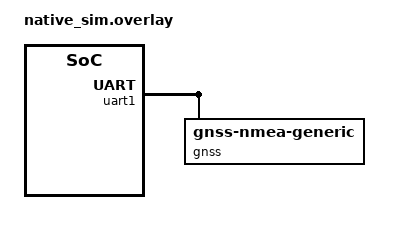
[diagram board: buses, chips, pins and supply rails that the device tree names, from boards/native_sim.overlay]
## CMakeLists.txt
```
cmake_minimum_required(VERSION 3.20.0)
include(${CMAKE_CURRENT_LIST_DIR}/../../cmake/lichen_build_epoch.cmake)
lichen_configure_time_build_epoch()
find_package(Zephyr REQUIRED HINTS $ENV{ZEPHYR_BASE})
project(lichen_gateway)

target_include_directories(app PRIVATE
  ../../subsys/lichen/transport/include)

target_sources(app PRIVATE
  src/main.c
  src/config_apply.c
  src/config_cbor.c
  src/forwarding.c
  src/network_location.c
  src/status_cbor.c)
target_sources_ifdef(CONFIG_LICHEN_ROUTING app PRIVATE
  src/announce_ingest.c)
target_sources_ifdef(CONFIG_LORA_LICHEN_BLE app PRIVATE
  src/ble_app_owner.c
  src/ble_uart.c
  src/ble_lci_netif.c
  src/ble_ingress.c
  src/inbound_coap.c
  src/inbound_events.c)
target_sources_ifdef(CONFIG_LORA_LICHEN_MESHTASTIC_BLE app PRIVATE
  src/ble_app_owner.c
  src/ble_meshtastic.c
  src/inbound_coap.c
  src/inbound_events.c
  src/message_contract.c
  src/meshtastic_adapter.c)
target_sources_ifdef(CONFIG_LORA_LICHEN_MESHCORE_BLE app PRIVATE
  src/ble_app_owner.c
  src/ble_meshcore.c
  src/gateway_identity.c
  src/message_contract.c
  src/meshcore_adapter.c)

target_sources_ifdef(CONFIG_LORA_LICHEN_GATEWAY_RPL_ROOT app PRIVATE
  src/rpl_root.c)

# Register the lichen_coap (modular, not _server) iterable section so
# the linker resolves _coap_resource_lichen_coap_list_start / _list_end.
# Standalone server conditionalized off via Kconfig for single owner.
zephyr_linker_sources(DATA_SECTIONS sections-ram.ld)
zephyr_iterable_section(
  NAME coap_resource_lichen_coap
  GROUP DATA_REGION ${XIP_ALIGN_WITH_INPUT}
  SUBALIGN CONFIG_LINKER_ITERABLE_SUBALIGN)
```

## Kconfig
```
# SPDX-License-Identifier: GPL-3.0-or-later
# SPDX-FileCopyrightText: The contributors to the LICHEN project

menu "LICHEN Gateway"

config LICHEN_MESHTASTIC_GATEWAY_ADAPTER_TEST_SURFACE
	bool "Expose Meshtastic gateway adapter surface for ztests"
	depends on ZTEST
	default n
	help
	  Internal ztest hook that exposes Meshtastic gateway adapter CoAP
	  resources without enabling the production BLE GATT backend.

config LICHEN_INBOUND_LOCATION_TEST_SURFACE
	bool "Expose inbound local-client location resource for ztests"
	depends on ZTEST
	default n
	help
	  Internal ztest hook that exposes the local-client location POST
	  resource without enabling a production local-client write transport.

config LICHEN_GATEWAY_ANNOUNCE_NETWORK_LOCATION_FALLBACK
	bool "Publish announce-derived coordinates as approximate NETWORK location"
	default n
	help
	  Allow verified LICHEN announce coordinate metadata from another peer to
	  update the gateway's local NETWORK location as an approximate
	  mesh-derived fallback. Leave disabled unless the gateway profile
	  intentionally wants peer announce coordinates to stand in for local
	  position. Disabled builds still parse and retain announce coordinates
	  for routing/diagnostics, but do not publish them as this node location.

config LORA_LICHEN_BLE
	bool "Native BLE LCI interface"
	depends on BT
	depends on BT_PERIPHERAL
	depends on BT_MAX_CONN = 1
	select LICHEN_APP_INTERFACE
	select NET_L2_DUMMY
	default n
	help
	  Enable the native LICHEN BLE Local Client Interface so a phone can
	  exchange SLIP-framed IPv6 packets with the gateway over BLE GATT.
	  By default this uses LICHEN-specific service and characteristic UUIDs.
	  Gate per board: enable only on targets with an enabled Zephyr BLE HCI
	  device. Keep the HAL BLE-local capability disabled until the board has a
	  validated bidirectional local-client transport.

config LORA_LICHEN_BLE_LEGACY_NUS
	bool "Use legacy Nordic UART Service UUIDs for native BLE LCI"
	depends on LORA_LICHEN_BLE
	default n
	help
	  Keep the native LICHEN BLE LCI surface on the Nordic UART Service UUID
	  triplet for existing mutually exclusive native product images. Do not
	  enable this in images that also need MeshCore compatibility: MeshCore
	  owns NUS UUIDs with raw MeshCore frame semantics.

config NET_IF_MAX_IPV6_COUNT
	default 2 if LORA_LICHEN_BLE

config LORA_LICHEN_MESHTASTIC_BLE
	bool "Meshtastic-compatible BLE GATT interface"
	depends on BT
	depends on BT_PERIPHERAL
	depends on BT_MAX_CONN = 1
	depends on LICHEN_MESHTASTIC_CODEC
	depends on LICHEN_LINK
	depends on !LORA_LICHEN_BLE
	select LICHEN_APP_IDENTITY
	select LICHEN_APP_INTERFACE
	select LICHEN_MESHTASTIC_ADAPTER
	default n
	help
	  Enable the Meshtastic BLE service UUID and raw protobuf
	  ToRadio/FromRadio/FromNum characteristics. This is a local app
	  compatibility surface only; it does not make LICHEN RF packets
	  Meshtastic-compatible. The first implementation owns a single
	  Meshtastic app session and therefore requires CONFIG_BT_MAX_CONN=1.
	  App identity is selected so NodeDB sync can enumerate known LICHEN
	  peers through the common app-visible identity table.

config LORA_LICHEN_MESHCORE_BLE
	bool "MeshCore-compatible BLE GATT interface"
	depends on BT
	depends on BT_PERIPHERAL
	depends on BT_MAX_CONN = 1
	depends on BT_SMP || ZTEST
	depends on BT_FIXED_PASSKEY || ZTEST
	depends on LICHEN_MESHCORE_CODEC
	depends on LICHEN_LINK
	depends on !LORA_LICHEN_BLE
	depends on !LORA_LICHEN_MESHTASTIC_BLE
	select LICHEN_APP_IDENTITY
	select LICHEN_APP_INTERFACE
	select LICHEN_MESHCORE_ADAPTER
	select BT_SMP_ENFORCE_MITM if !ZTEST
	default n
	help
	  Enable the MeshCore-compatible Nordic UART Service UUIDs with raw
	  MeshCore command/response frames. This is a local app compatibility
	  surface only; it does not make LICHEN RF packets MeshCore-compatible.
	  The first implementation owns a single MeshCore app session, requires
	  CONFIG_BT_MAX_CONN=1, CONFIG_BT_SMP, and CONFIG_BT_FIXED_PASSKEY. It
	  uses authenticated encrypted GATT access in production builds. Plain
	  permissions are limited to ztest/native_sim test builds.

config LORA_LICHEN_MESHCORE_BLE_QUEUE_DEPTH
	int "MeshCore BLE frame queue depth"
	depends on LORA_LICHEN_MESHCORE_BLE
	default 4
	range 1 16
	help
	  Number of complete raw MeshCore frames retained for app RX and TX.

config LORA_LICHEN_MESHCORE_BLE_NAME
	string "MeshCore BLE advertised name"
	depends on LORA_LICHEN_MESHCORE_BLE
	default "MeshCore-LICHEN"
	help
	  Short advertised name used only in MeshCore compatibility mode. Keep
	  the default MeshCore- prefix unless real-client smoke tests prove
	  another prefix is discoverable.

config LORA_LICHEN_MESHCORE_BLE_PASSKEY
	int "MeshCore BLE fixed pairing passkey"
	depends on LORA_LICHEN_MESHCORE_BLE
	default 123456
	range 0 999999
	help
	  Six-digit MeshCore compatibility passkey installed with
	  bt_passkey_set() before advertising starts. This is the first
	  product-mode hook for authenticated local pairing; production boards
	  should override it from provisioning or persistent settings once the
	  MeshCore config-secret policy is implemented.

config LORA_LICHEN_MESHCORE_COMPAT_SETTINGS_PERSISTENCE
	bool "Persist MeshCore compatibility-local settings"
	depends on LORA_LICHEN_MESHCORE_BLE || ZTEST
	depends on LICHEN_MESHCORE_ADAPTER
	depends on SETTINGS_NVS
	default n
	help
	  Persist only MeshCore app-compatibility local state through Zephyr
	  settings/NVS: display name, channel 0 compatibility record, auto-add
	  config, default flood scope, and MeshCore BLE PIN. This store is
	  intentionally separate from native LICHEN identity, OSCORE/link keys,
	  group/routing state, and radio configuration.

config LORA_LICHEN_MESHTASTIC_BLE_QUEUE_DEPTH
	int "Meshtastic BLE FromRadio queue depth"
	depends on LORA_LICHEN_MESHTASTIC_BLE
	default 20
	range LORA_LICHEN_MESHTASTIC_BLE_QUEUE_DEPTH_MIN 32
	help
	  Number of complete FromRadio protobuf values retained for app reads.
	  Keep enough headroom for a queued heartbeat plus a full configuration
	  sync burst with the default bounded NodeDB peer cap.

config LORA_LICHEN_MESHTASTIC_BLE_QUEUE_DEPTH_MIN
	int
	default 20

config LORA_LICHEN_MESHTASTIC_BLE_TO_RADIO_QUEUE_DEPTH
	int "Meshtastic BLE ToRadio queue depth"
	depends on LORA_LICHEN_MESHTASTIC_BLE
	default 8
	range 1 16
	help
	  Number of complete ToRadio protobuf values retained for gateway
	  processing after app writes.

config LORA_LICHEN_GATEWAY_MESSAGE_QUEUE_DEPTH
	int "Gateway local message ingress queue depth"
	depends on LORA_LICHEN_MESHTASTIC_BLE || LORA_LICHEN_MESHCORE_BLE || \
		   LICHEN_MESHTASTIC_GATEWAY_ADAPTER_TEST_SURFACE
	default 4
	range 1 16
	help
	  Number of app-ingress text messages accepted from compatibility
	  surfaces and retained for the normal LICHEN message sender. Until that
	  sender is enabled, this bounded queue is the deterministic local
	  contract and does not transmit on BLE or LoRa by itself.

config LORA_LICHEN_GATEWAY_RPL_ROOT
	bool "RPL root signalling"
	depends on LICHEN_RPL
	default y
	help
	  Enable gateway as RPL DODAG root (lichen_rpl_dodag_init_root).
	  Initializes per AGENTS.md order after link_ctx. Drives Trickle DIOs
	  as root for mesh formation. Updates /status to reflect joined root role.

config LICHEN_GATEWAY_PREFIX_DELEGATION
	bool "Enable IPv6 prefix delegation from WiFi/Ethernet backhaul to RPL mesh"
	depends on LICHEN_RPL
	depends on NET_DHCPV6
	depends on NET_IPV6_ND
	select WIFI
	select NET_L2_WIFI_MGMT
	select NET_IPV6_ND6
	imply NET_DHCPV6_CLIENT
	default y
	help
	  WiFi STA + upstream prefix to RPL DODAG for Heltec V3 6LBR (spec/appendix-border-router.md).
	  Requires main.c event handlers + AGENTS.md init order. Increases heap (see board defconfig).

config LICHEN_GATEWAY_RX1_DELAY_MS
	int "RX1-style delay before answering a CoAP request (ms)"
	default 0
	help
	  Milliseconds to wait after receiving a CoAP request before sending
	  the response, giving a half-duplex requesting node time to switch
	  its radio from TX (the request it just sent) to RX. Without it, the
	  reply can arrive during the requester's TX->RX turnaround and be
	  missed (lora_ipv6_mesh-fe1z, observed on the T1000-E/LR1110). 0
	  disables the delay. ~100 ms is a safe LoRa value.

# Force modular CoAP (lichen_coap service + LICHEN_COAP_CONFIG) for
# gateway; legacy standalone server (lichen_coap_server) would duplicate
# lichen_config ownership and lacks linker bounds on nucleo_wl55jc/r1_neo.
config LICHEN_COAP_SERVER_STANDALONE
	default n

config LICHEN_GATEWAY_COORDINATION
	bool "Gateway coordination protocol (TDMA slots, node registry, handoff)"
	depends on LICHEN_RPL
	depends on LICHEN_COAP
	depends on LICHEN_COAP_SERVER || LICHEN_COAP_CONFIG
	default n
	help
	  Enable multi-gateway coordination per mugl.3 / spec/05-routing.md:145
	  (backbone UDP/CoAP to /.well-known/lichen-gw). Supports closed (PSK+OSCORE)
	  and open (Ed25519 signatures+TOFU) federation modes. Stubs in subsys and
	  rust/lichen-gateway to follow. Required for >1 gateway deployments.

choice LICHEN_GW_FEDERATION_MODE
	prompt "Gateway federation mode for coordination"
	default LICHEN_GW_FEDERATION_CLOSED
	depends on LICHEN_GATEWAY_COORDINATION
	help
	  Closed: PSK-based for single-operator. Open: signature-based for
	  multi-operator with TOFU. Dual supports both simultaneously (mugl.3).

config LICHEN_GW_FEDERATION_CLOSED
	bool "Closed federation (PSK + OSCORE)"

config LICHEN_GW_FEDERATION_OPEN
	bool "Open federation (Ed25519 + TOFU)"

config LICHEN_GW_FEDERATION_DUAL
	bool "Dual federation (both modes)"

endchoice

config LICHEN_GW_PSK
	string "Base64-encoded PSK for closed/dual federation"
	depends on LICHEN_GATEWAY_COORDINATION
	depends on LICHEN_GW_FEDERATION_CLOSED || LICHEN_GW_FEDERATION_DUAL
	help
	  Shared secret for OSCORE in closed federation. Must match on all
	  cooperating gateways in closed mode. 32+ bytes recommended.

config LICHEN_GATEWAY_WIFI_STATION
	bool "WiFi station backhaul (Heltec V3)"
	default y if BOARD_HELTEC_WIFI_LORA32_V3_ESP32S3_PROCPU
	select WIFI
	select WIFI_NM
	select ESP_WIFI_ENABLED
	help
	  Enable WiFi station mode for internet backhaul, prefix acquisition via RA, and LICHEN_GATEWAY_PREFIX_DELEGATION. Uses net_mgmt events for NET_EVENT_WIFI_CONNECT_RESULT and NET_EVENT_IPV6_ADDR_ADD. SSID/PSK from Kconfig or /config CoAP resource. Follows AGENTS.md init order.

config LICHEN_GATEWAY_WIFI_SSID
	string "WiFi SSID"
	depends on LICHEN_GATEWAY_WIFI_STATION
	default "lichen-backhaul"

config LICHEN_GATEWAY_WIFI_PSK
	string "WiFi PSK"
	depends on LICHEN_GATEWAY_WIFI_STATION
	default "lichen123"
	help
	  WPA2 PSK for station mode. Override via CoAP /config for production.

endmenu

source "Kconfig.zephyr"
```

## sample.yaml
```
# SPDX-License-Identifier: GPL-3.0-or-later
# SPDX-FileCopyrightText: The contributors to the LICHEN project

sample:
  name: LICHEN gateway app
  description: Build-only coverage for the LICHEN gateway application entry point.
common:
  tags:
    - lichen
    - gateway
  build_only: true
  extra_args:
    - LICHEN_RELEASE_EPOCH_UNIX=1710000000
tests:
  app.lichen.gateway.native_sim:
    platform_allow:
      - native_sim
    integration_platforms:
      - native_sim
  app.lichen.gateway.qemu_x86:
    platform_allow:
      - qemu_x86
    integration_platforms:
      - qemu_x86
  app.lichen.gateway.rak2287:
    platform_allow:
      - native_sim
    integration_platforms:
      - native_sim
    extra_args:
      - CONFIG_LICHEN_GATEWAY_COORDINATION=y
    tags:
      - rak2287
      - sx1302
```

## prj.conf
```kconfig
# LICHEN gateway — border router / SLIP bridge Kconfig
# Acts as DODAG root (RPL) and SLIP bridge to upstream host

# LoRa radio (driver selected per board in boards/*.conf)
# ponytail: LORA_SX12XX only for external SPI chips (RAK4631, etc)
# STM32WL uses integrated radio via SUBGHZSPI
CONFIG_SPI=y
CONFIG_LORA=y

# Networking
CONFIG_NETWORKING=y
CONFIG_NET_IPV6=y
CONFIG_NET_UDP=y
CONFIG_NET_SOCKETS=y
CONFIG_NET_IPV6_ND=y
CONFIG_NET_DHCPV6=y
CONFIG_NET_ROUTE=y
CONFIG_NET_ROUTING=y

# Application protocols
CONFIG_COAP=y
CONFIG_COAP_SERVER=y
CONFIG_COAP_SERVER_WELL_KNOWN_CORE=y
CONFIG_COAP_SERVER_MESSAGE_SIZE=896
CONFIG_ZCBOR=y

# LICHEN protocol stack
CONFIG_LICHEN=y
CONFIG_LICHEN_APP_INTERFACE=y
CONFIG_LICHEN_LINK=y
CONFIG_LICHEN_ROUTING=y
CONFIG_LICHEN_RPL=y
CONFIG_LICHEN_OSCORE=y

# LICHEN CoAP resources
CONFIG_LICHEN_COAP=y
CONFIG_LICHEN_COAP_CONFIG=y

# LICHEN L2 integration (LoRa -> IPv6 stack)
CONFIG_LICHEN_IPV6=y
CONFIG_LICHEN_LORA_L2=y
CONFIG_LICHEN_L2=y

# SLIP bridge
# Base enables NET_DRIVERS; board configs select TAP (sim) or UART (hardware)
CONFIG_NET_DRIVERS=y
CONFIG_SLIP=y

# Larger stacks — gateway handles RPL root duties + forwarding
CONFIG_MAIN_STACK_SIZE=8192
CONFIG_SYSTEM_WORKQUEUE_STACK_SIZE=4096

# Safety (spec appendix-c-safety)
CONFIG_STACK_CANARIES=y
CONFIG_STACK_SENTINEL=y
CONFIG_ASSERT=y
CONFIG_ASSERT_VERBOSE=y

# Logging
CONFIG_LOG=y
CONFIG_LOG_DEFAULT_LEVEL=3
```

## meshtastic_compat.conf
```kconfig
# SPDX-License-Identifier: GPL-3.0-or-later
# SPDX-FileCopyrightText: The contributors to the LICHEN project

# Meshtastic app-compat BLE protocol shim dependency. Dispatcher Beads wire
# this into gateway BLE service paths; keep it as an app feature fragment so
# protocol compatibility does not masquerade as a board hardware capability.
CONFIG_LICHEN_MESHTASTIC_CODEC=y
CONFIG_LICHEN_APP_INTERFACE_MAX_PAYLOAD=200
CONFIG_LORA_LICHEN_BLE=n
CONFIG_LORA_LICHEN_MESHTASTIC_BLE=y
CONFIG_BT_ATT_PREPARE_COUNT=4
```

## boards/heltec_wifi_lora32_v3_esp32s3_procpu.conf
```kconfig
# SPDX-License-Identifier: GPL-3.0-or-later
# SPDX-FileCopyrightText: The contributors to the LICHEN project
#
# Heltec WiFi LoRa 32 V3 gateway config — ESP32-S3 + SX1262. WiFi backhaul, RPL root,
# tuned stacks, NVS epoch persist, bench provisioning. Update SSID/PSK for production.
# CONFIG_UART_INTERRUPT_DRIVEN=y required for Zephyr shell on UART1
# (polling conflicts with shell backend; see UART driver docs).
#
# WiFi backhaul: NET_L2_ETHERNET + ESP32 WiFi driver. IPv6 RA + NET_IF for
# BR prefix delegation and RPL root. Includes NET_L2_WIFI_MGMT.
CONFIG_LORA_SX126X=y
CONFIG_LICHEN_HAS_LORA=y
CONFIG_LICHEN_RADIO_MODEL_SX126X=y
CONFIG_WIFI_NM=y
CONFIG_ESP_WIFI_ENABLED=y
CONFIG_WIFI=y
CONFIG_NET_L2_ETHERNET=y
CONFIG_NET_L2_WIFI_MGMT=y
CONFIG_NET_IF_MAX_IPV6_COUNT=3
CONFIG_LORA_LICHEN_GATEWAY_RPL_ROOT=y
CONFIG_NET_IPV6_ND=y
CONFIG_NET_CONFIG_NEED_IPV6_ROUTER=y
CONFIG_LICHEN_GATEWAY_PREFIX_DELEGATION=y
CONFIG_LICHEN_GATEWAY_WIFI_SSID="lichen-test"
CONFIG_LICHEN_GATEWAY_WIFI_PSK="lichen123"

CONFIG_SLIP=n

# Full L2 + CoAP path (prj.conf default). Radio arbitration by LICHEN_L2 mutex + TDMA per spec/02a-coordinated-capacity.md §2a.2;
# TINYCRYPT auto-pulled via LICHEN_L2 select.
#
# No AES-CCM link key provisioned on bench gateway -> use CRC32 MIC fallback.
# INSECURE: for bench only; replace with proper key in production.
CONFIG_LICHEN_LINK_INSECURE_CRC32_MIC=y

# Bench-only dev link provisioning for T-Echo and T1000-E pucks (per LICHEN_L2_DEV_PROVISIONING).
CONFIG_LICHEN_L2_DEV_PROVISIONING=y
CONFIG_LICHEN_L2_DEV_PEER_EUI64="7a7ff09dc86c2c10,8a1a2c4b93812cab"

# Dedicated TC TX thread avoids workqueue deadlock with lora_send() on boot.
CONFIG_NET_TC_TX_COUNT=1

# RX-path stacks: the LoRa L2 RX thread runs Monocypher Ed25519 verify +
# SCHC decompress (multi-KB stack), and the net RX thread carries the
# decompressed packet through IPv6/UDP/socket delivery. The 2048/1500
# defaults overflow and crash on the first real received frame. TC TX
# thread runs lichen_l2_send -> Ed25519 SIGNING; 1200 B default
# silently overflows on Xtensa and tramples context — crash appears later
# in xtensa_restore_high_regs. Larger values required for
# ESP32-S3 + WiFi coexistence. Short RX window; boundary-straddling frames safe because
# sx12xx driver holds window open on preamble/header (local Zephyr patch).
# BENCH: 2 dBm prevents saturation on antenna-to-antenna tests while
# allowing >150 B Block2 transfers.
CONFIG_LICHEN_LORA_L2_RX_STACK_SIZE=12288
CONFIG_NET_RX_STACK_SIZE=8192
CONFIG_NET_TX_STACK_SIZE=12288

CONFIG_LICHEN_LORA_L2_RX_TIMEOUT_MS=1000
CONFIG_LICHEN_LORA_TX_POWER=2

# Persist the link TX epoch across reboots: advance it +1 each
# boot so the gateway's counter stays ahead of peers' replay windows,
# eliminating the ~50% reboot replay coin-flip. Settings-on-NVS backed by
# the board's storage_partition@250000.
CONFIG_FLASH=y
CONFIG_FLASH_MAP=y
CONFIG_NVS=y
CONFIG_SETTINGS=y
CONFIG_SETTINGS_NVS=y
CONFIG_LICHEN_LINK_EPOCH_PERSIST=y

CONFIG_LICHEN_GATEWAY_RX1_DELAY_MS=100

CONFIG_ESP_WIFI_STATIC_RX_BUFFER_NUM=8
CONFIG_ESP_WIFI_DYNAMIC_RX_BUFFER_NUM=32
CONFIG_ESP_WIFI_STATIC_TX_BUFFER_NUM=8
CONFIG_NET_MAX_ROUTERS=4
CONFIG_NET_IPV6_NBR_CACHE=16
CONFIG_NET_BUF_RX_COUNT=20
CONFIG_HEAP_MEM_POOL_SIZE=98304

# Battery support for Heltec V3 (N30 1100mAh) real hardware test.
CONFIG_LICHEN_HAS_BATTERY=y
CONFIG_SENSOR=y
CONFIG_ADC=y
```

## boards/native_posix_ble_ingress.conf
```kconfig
# SPDX-License-Identifier: GPL-3.0-or-later
# SPDX-FileCopyrightText: The contributors to the LICHEN project

# Research from bead project-LICHEN-2auf.59.4.1.3.2.2.2.1: Kconfig for native_posix BLE ingress (no link layer)
# Analyzed prj.conf from ble_ingress (ZTEST/NET_L2_DUMMY/NET_IPV6), gateway (full L2/LINK/RPL/COAP), ble_ipsp_transport (BT + BLE_TRANSPORT + explicit L2=n).
# Required CONFIGs for BLE/IPSP/native_posix (excludes link.35.6):
# BLE: BT=y PERIPHERAL=y MAX_CONN=1 DEVICE_NAME BT_HCI=y
# LICHEN-BLE: LORA_LICHEN_BLE=y (selects NET_L2_DUMMY and APP_INTERFACE)
# Disable link: LICHEN=y LINK=n LORA_L2=n L2=n
# Networking: NETWORKING=y IPV6=y UDP=y SOCKETS=y ROUTE=y NET_L2_DUMMY=y IF_MAX_IPV6=2 PKT/BUF counts
# Native: ENTROPY=y TEST_RANDOM_GENERATOR=y LOG=3 MAIN_STACK=4096 + safety
# IPSP: optional (NET_L2_BT unavailable in v3.7; disabled)
# Build cmd: SOURCE_DATE_EPOCH=$(git log -1 --format=%ct) west build -b native_sim/native/64 -p always -d build/ble-ingress lichen/apps/gateway -- -DDTC_OVERLAY_FILE=boards/native_posix_ble_ingress.overlay -DEXTRA_CONF_FILE=boards/native_posix_ble_ingress.conf -DZEPHYR_EXTRA_MODULES=$PWD/lichen -DLICHEN_RELEASE_EPOCH_UNIX=1722470400
# Note: native_posix is deprecated in Zephyr 3.7 and targets x86-32 hosts; on aarch64
# and x86_64 hosts use its successor native_sim/native/64 as shown above.

CONFIG_BT=y
CONFIG_BT_PERIPHERAL=y
CONFIG_BT_MAX_CONN=1
CONFIG_BT_DEVICE_NAME="LICHEN-BLE-INGRESS"
CONFIG_BT_HCI=y
CONFIG_BT_HCI_RAW=n

CONFIG_LORA_LICHEN_BLE=y
CONFIG_LICHEN_BLE_TRANSPORT=n
CONFIG_LICHEN_BLE_SLIP=n
CONFIG_LICHEN_BLE_TRANSPORT_REQUIRE_SECURE=n

# Disable the mesh link and routing stacks for this BLE ingress-only image.
CONFIG_LICHEN=y
CONFIG_LICHEN_LINK=n
CONFIG_LICHEN_LORA_L2=n
CONFIG_LICHEN_L2=n
CONFIG_LICHEN_IPV6=n
CONFIG_LICHEN_HAS_LORA=n
CONFIG_LICHEN_RADIO_MODEL_NONE=y
CONFIG_LICHEN_RADIO_MODEL_LOOPBACK=n
CONFIG_LORA_LOOPBACK=n
CONFIG_LORA=n
CONFIG_LICHEN_ROUTING=n
CONFIG_LICHEN_RPL=n
CONFIG_GNSS=n
CONFIG_GNSS_EMUL=n

# Exclude gateway services unrelated to BLE ingress.
CONFIG_ZCBOR=y
CONFIG_BASE64=n
CONFIG_MCUMGR=n
CONFIG_UART_MCUMGR=n
CONFIG_MCUMGR_TRANSPORT_UART=n
CONFIG_MCUMGR_GRP_FS=n
CONFIG_UART_CONSOLE=n
CONFIG_LICHEN_COAP=n
CONFIG_LICHEN_COAP_SERVER=n
CONFIG_LICHEN_COAP_CONFIG=n
CONFIG_LICHEN_COAP_KEYS=n
CONFIG_LICHEN_OSCORE=n
CONFIG_LICHEN_SENML=n
CONFIG_LICHEN_SLIP_TRANSPORT=n
CONFIG_FILE_SYSTEM=n

# BLE/LCI specific networking (NET_L2_DUMMY is selected by LORA_LICHEN_BLE)
CONFIG_NETWORKING=y
CONFIG_NET_IPV6=y
CONFIG_NET_IPV6_ND=y
CONFIG_NET_IPV6_NBR_CACHE=y
CONFIG_NET_UDP=y
CONFIG_NET_SOCKETS=y
CONFIG_NET_L2_DUMMY=y
CONFIG_NET_IF_MAX_IPV6_COUNT=2
CONFIG_NET_PKT_RX_COUNT=16
CONFIG_NET_PKT_TX_COUNT=16
CONFIG_NET_BUF_RX_COUNT=32
CONFIG_NET_BUF_TX_COUNT=32

# Native sim support
CONFIG_ENTROPY_GENERATOR=y
CONFIG_TEST_RANDOM_GENERATOR=y
CONFIG_LOG=y
CONFIG_LOG_DEFAULT_LEVEL=3
CONFIG_MAIN_STACK_SIZE=4096

# C Safety Policy - spec/appendix-c-safety.md
# STACK_CANARIES must stay off on native_sim/native/64: z_cstart() seeds the
# compiler canary guard (__stack_chk_guard) at PRE_KERNEL_2, after the native
# simulator's host-side boot frames (nsi_init -> nsif_cpu0_boot -> nested
# _start/__libc_start_main) have already been built with the exec-time guard
# value 0.  The first return through one of those pre-seed frames mismatches
# the re-seeded guard and trips __stack_chk_fail, observed at runtime as
# "ZEPHYR FATAL ERROR 2: Stack overflow on CPU 0" on z_idle_threads
# immediately after main() returns (bead project-LICHEN-2auf.59.4.1.3.2.2.4
# runtime log + core-dump analysis).  STACK_SENTINEL stays on: it validates
# Zephyr thread stacks at context switch and runs clean on this target.
CONFIG_STACK_CANARIES=n
CONFIG_STACK_SENTINEL=y
CONFIG_ASSERT=y
CONFIG_ASSERT_VERBOSE=y
```

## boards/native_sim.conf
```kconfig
# native_sim board config — overrides / supplements prj.conf

# LoRa loopback driver for testing without external simulator
CONFIG_LORA=y
CONFIG_LORA_LOOPBACK=y
CONFIG_LICHEN_HAS_LORA=y
CONFIG_LICHEN_RADIO_MODEL_LOOPBACK=y

# Alternatively, use the simulator driver (requires lichen-sim running):
# CONFIG_LORA_LICHEN_SIM=y
# CONFIG_LORA_LICHEN_SIM_HOST="127.0.0.1"
# CONFIG_LORA_LICHEN_SIM_PORT=4444
# CONFIG_LORA_LICHEN_SIM_NODE_ID="gw0"
# CONFIG_LORA_LICHEN_SIM_SIM_ID="lichen"
# CONFIG_NET_SOCKETS=y
# CONFIG_NET_SOCKETS_POSIX_NAMES=y

# native_sim uses the LoRa loopback/simulator driver, not Zephyr SLIP/TAP.
CONFIG_SLIP=n

# GNSS via NMEA on uart1 (PTY)
# Enable second UART port for GNSS NMEA injection
CONFIG_UART_NATIVE_POSIX_PORT_1_ENABLE=y
CONFIG_GNSS=y
CONFIG_GNSS_NMEA_GENERIC=y
```

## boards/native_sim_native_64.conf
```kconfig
# native_sim board config — overrides / supplements prj.conf

# LoRa loopback driver for testing without external simulator
CONFIG_LORA=y
CONFIG_LORA_LOOPBACK=y
CONFIG_LICHEN_HAS_LORA=y
CONFIG_LICHEN_RADIO_MODEL_LOOPBACK=y

# Alternatively, use the simulator driver (requires lichen-sim running):
# CONFIG_LORA_LICHEN_SIM=y
# CONFIG_LORA_LICHEN_SIM_HOST="127.0.0.1"
# CONFIG_LORA_LICHEN_SIM_PORT=4444
# CONFIG_LORA_LICHEN_SIM_NODE_ID="gw0"
# CONFIG_LORA_LICHEN_SIM_SIM_ID="lichen"
# CONFIG_NET_SOCKETS=y
# CONFIG_NET_SOCKETS_POSIX_NAMES=y

# native_sim uses the LoRa loopback/simulator driver, not Zephyr SLIP/TAP.
CONFIG_SLIP=n

# GNSS: use emulated driver for native_sim (no UART dependency)
# For real hardware, boards use gnss-nmea-generic with MODEM_BACKEND_UART.
CONFIG_GNSS=y
CONFIG_GNSS_EMUL=y

# Entropy driver for CSPRNG (native_sim uses zephyr,native-posix-rng)
CONFIG_ENTROPY_GENERATOR=y
```

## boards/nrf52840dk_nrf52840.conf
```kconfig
# nRF52840 DK board config — BLE UART gateway
# The nRF52840 has no built-in LoRa radio; pair with an external SX1262 via SPI.

# The DK gateway exposes the local client interface over BLE NUS, not Zephyr's
# wired SLIP driver.  Keep CONFIG_SLIP disabled so Zephyr does not require a
# zephyr,uart-pipe chosen node for this board.
CONFIG_SLIP=n

# The generic DK devicetree has no LoRa radio or lora0 alias.  Build this board
# as a BLE/CoAP gateway shell; LoRa-enabled nRF52840 boards provide overlays.
CONFIG_LORA=n
CONFIG_LICHEN_LORA_L2=n
CONFIG_LICHEN_L2=n

# BLE stack
CONFIG_BT=y
CONFIG_BT_PERIPHERAL=y
CONFIG_BT_DEVICE_NAME="LICHEN"
CONFIG_BT_MAX_CONN=1

# Enable extended ATT MTU so large IPv6 packets need fewer notify chunks
CONFIG_BT_GATT_CLIENT=n
CONFIG_BT_L2CAP_TX_MTU=247
CONFIG_BT_BUF_ACL_TX_SIZE=251
CONFIG_BT_BUF_ACL_RX_SIZE=251

# LICHEN BLE UART feature
CONFIG_LORA_LICHEN_BLE=y
CONFIG_LICHEN_HAS_BLE_LOCAL=y
```

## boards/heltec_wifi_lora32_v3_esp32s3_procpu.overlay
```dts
/ {
	chosen {
		zephyr,lora = &lora0;
		/* Bench: non-destructive console on UART1 (GPIO21/22) to fix CP2102 reset (lora_ipv6_mesh-9ia2) */
		zephyr,console = &uart1;
		zephyr,shell-uart = &uart1;
	};
}; /* Renode support via esp32s3_lichen repl + updated overlays */

/* UART1 for bench serial (dtr=False, rts=False, non-destructive, lora_ipv6_mesh-9ia2) */
&uart1 {
	status = "okay";
	current-speed = <115200>;
	pinctrl-0 = <&uart1_default>;
	pinctrl-names = "default";
};
```

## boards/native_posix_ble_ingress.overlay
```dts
/*
 * SPDX-License-Identifier: GPL-3.0-or-later
 * SPDX-FileCopyrightText: The contributors to the LICHEN project
 *
 * Dedicated DTC overlay for native_posix BLE ingress / LCI build.
 * Enables BLE paths (IPSP transport, LCI netif) while stubbing
 * link layer (no lichen,lora-loopback, no full radio). Used with
 * native_posix or native_sim board to produce clean build without
 * link.35.6 dependencies.
 */

 / {
 	/* No LoRa device to prevent LICHEN_LINK / LORA_L2 activation */
 	/delete-node/ lora_sim;

 	aliases {
 		/* Explicitly no lora alias for ingress-only build */
 	};

 	chosen {
 		/* No zephyr,lora chosen node - LCI uses dummy BLE netif */
 	};

 	/* BLE LCI is code-driven via NET_DEVICE_INIT(ble_lci...) in ble_lci_netif.c */
 };
```

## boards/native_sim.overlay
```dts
/*
 * native_sim overlay for the LICHEN gateway.
 *
 * Instantiates the loopback LoRa driver for testing without hardware.
 * For full simulation with multiple nodes, switch to "lichen,lora-sim"
 * and update native_sim.conf accordingly.
 *
 * GNSS: Uses uart1 with gnss-nmea-generic for NMEA injection via PTY.
 * The UART path is printed at startup; connect with:
 *   python tools/gnss_nmea_feeder.py /dev/pts/<N>
 */

/ {
	aliases {
		lora0 = &lora_sim;
		gnss = &gnss;
	};

	chosen {
		zephyr,lora = &lora_sim;
	};

	lora_sim: lora {
		compatible = "lichen,lora-loopback";
		status = "okay";
	};
};

/* GNSS on uart1 — receives NMEA sentences via PTY */
&uart1 {
	gnss: gnss-nmea-generic {
		compatible = "gnss-nmea-generic";
	};
};
```

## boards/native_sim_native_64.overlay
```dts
/*
 * native_sim overlay for the LICHEN gateway.
 *
 * Instantiates the loopback LoRa driver for testing without hardware.
 * For full simulation with multiple nodes, switch to "lichen,lora-sim"
 * and update native_sim.conf accordingly.
 *
 * GNSS: Uses emulated driver (no UART dependency) for simulation.
 */

/ {
	aliases {
		lora0 = &lora_sim;
		gnss = &gnss;
	};

	chosen {
		zephyr,lora = &lora_sim;
	};

	lora_sim: lora {
		compatible = "lichen,lora-loopback";
		status = "okay";
	};

	/* Emulated GNSS for simulation — no UART/MODEM dependencies */
	gnss: gnss {
		compatible = "zephyr,gnss-emul";
		status = "okay";
	};
};
```

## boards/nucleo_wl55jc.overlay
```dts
/*
 * Nucleo-WL55JC — STM32WL55 with built-in sub-GHz radio
 *
 * The STM32WL55 integrates an SX126x-compatible sub-GHz transceiver
 * reachable via the internal SUBGHZSPI peripheral.  The Zephyr board
 * definition exposes it as &subghzspi / the STM32 sub-GHz radio node.
 *
 * References:
 *   boards/arm/nucleo_wl55jc/nucleo_wl55jc.dts
 *   drivers/lora/sx126x.c (subghz variant)
 */

/*
 * &lora is the sub-GHz radio node defined in nucleo_wl55jc.dts.
 * Already enabled by default; nothing to override for basic use.
 * Frequency and power are configured at runtime via LoRa API.
 */
/ {
	chosen {
		zephyr,lora      = &lora;
		zephyr,uart-pipe = &lpuart1;
	};
};
```

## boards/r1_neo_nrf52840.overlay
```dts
/*
 * Muzi Works R1 Neo gateway overlay — enables SX1262 and BLE-local firmware.
 */

/ {
	chosen {
		zephyr,lora = &lora0;
	};
};

&lora0 {
	status = "okay";
};
```

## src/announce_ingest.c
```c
/* SPDX-License-Identifier: GPL-3.0-or-later */
/* SPDX-FileCopyrightText: The contributors to the LICHEN project */

#include "announce_ingest.h"

#include <errno.h>

#include <zephyr/kernel.h>
#include <zephyr/sys/util.h>

#include <lichen/routing/announce.h>

#include "network_location.h"

static bool announce_seq_newer(uint16_t seq_num, uint16_t previous_seq_num)
{
	return seq_num != previous_seq_num &&
	       (uint16_t)(seq_num - previous_seq_num) < 0x8000U;
}

static bool uptime_newer_or_equal(uint32_t now_uptime_s,
				  uint32_t observed_uptime_s,
				  uint32_t *age_s)
{
	uint32_t delta;

	if (now_uptime_s == observed_uptime_s) {
		*age_s = 0U;
		return true;
	}

	delta = now_uptime_s - observed_uptime_s;
	if (delta == 0U || delta >= 0x80000000U) {
		return false;
	}

	*age_s = delta;
	return true;
}

static bool downstream_record_expired(
	uint32_t now_uptime_s,
	const struct gateway_network_location_announce_record *record)
{
	uint32_t age_s;

	return uptime_newer_or_equal(now_uptime_s,
				     record->observed_uptime_s, &age_s) &&
	       age_s > CONFIG_LICHEN_LOCATION_FRESHNESS_MAX_AGE_S;
}

static uint32_t extend_location_seq(uint16_t seq_num,
				    uint32_t previous_location_seq_num)
{
	uint16_t previous_seq_num = (uint16_t)previous_location_seq_num;
	uint32_t location_seq_num =
		(previous_location_seq_num & 0xffff0000U) | seq_num;

	if (seq_num < previous_seq_num) {
		location_seq_num += 0x10000U;
	}

	return location_seq_num;
}

static int gateway_announce_app_data_observer(
	const struct lichen_announce_view *announce,
	const struct lichen_announce_rx_meta *meta,
	void *user_data)
{
	struct gateway_network_location_announce_sample sample;
	struct gateway_network_location_announce_record existing_record;
	uint32_t observed_uptime_s;
	uint32_t location_seq_num;
	bool accepted_expired_reset = false;
	int ret;

	ARG_UNUSED(user_data);

	if (announce == NULL) {
		return -EINVAL;
	}

	observed_uptime_s = (meta != NULL && meta->observed_uptime_s != 0U) ?
			    meta->observed_uptime_s : 0U;
	if (observed_uptime_s == 0U) {
		observed_uptime_s = k_uptime_get_32() / 1000U;
	}
	location_seq_num = announce->seq_num;

	ret = gateway_network_location_announce_get(
		announce->originator_iid, LICHEN_ANNOUNCE_IID_LEN,
		&existing_record);
	if (ret == 0) {
		if (!announce_seq_newer(announce->wire_seq_num,
					(uint16_t)existing_record.seq_num) &&
		    !downstream_record_expired(observed_uptime_s,
					       &existing_record)) {
			return -EALREADY;
		}
		accepted_expired_reset = !announce_seq_newer(
			announce->wire_seq_num,
			(uint16_t)existing_record.seq_num);
		location_seq_num = extend_location_seq(announce->wire_seq_num,
						       existing_record.seq_num);
	} else if (ret != -ENOENT) {
		return ret;
	} else if (announce->seq_stale) {
		return -EALREADY;
	}

	sample.peer_id = announce->originator_iid;
	sample.peer_id_len = LICHEN_ANNOUNCE_IID_LEN;
	sample.seq_num = location_seq_num;
	sample.observed_uptime_s = observed_uptime_s;
	sample.app_data = announce->app_data;
	sample.app_data_len = announce->app_data_len;

	ret = gateway_network_location_submit_announce(&sample);
	if (ret < 0) {
		return ret;
	}
	return accepted_expired_reset ? LICHEN_ANNOUNCE_ACCEPT_SEQ_RESET : 0;
}

static void ensure_gateway_observer(void)
{
	(void)lichen_announce_register_app_data_observer_ex(
		gateway_announce_app_data_observer, NULL,
		LICHEN_ANNOUNCE_OBSERVER_F_ALLOW_SEQ_RESET);
}

int gateway_announce_parse(const uint8_t *data, size_t len,
			   struct gateway_announce_view *announce)
{
	struct lichen_announce_view view;
	int ret;

	if (announce == NULL) {
		return -EINVAL;
	}

	ret = lichen_announce_parse(data, len, &view);
	if (ret < 0) {
		return ret;
	}

	announce->hop_count = view.hop_count;
	announce->rx_channel = view.rx_channel;
	announce->seq_num = view.wire_seq_num;
	announce->originator_iid = view.originator_iid;
	announce->pubkey = view.pubkey;
	announce->signature = view.signature;
	announce->app_data = view.app_data;
	announce->app_data_len = view.app_data_len;
	return 0;
}

int gateway_announce_ingest_verified(const uint8_t *data, size_t len)
{
	ensure_gateway_observer();
	return lichen_announce_ingest_authenticated(data, len, NULL);
}

int gateway_announce_ingest_l2_payload(const uint8_t *data, size_t len)
{
	ensure_gateway_observer();
	return lichen_announce_ingest_l2_payload(data, len, NULL);
}

void gateway_announce_ingest_reset(void)
{
	lichen_announce_reset();
	ensure_gateway_observer();
}
```

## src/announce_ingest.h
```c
/* SPDX-License-Identifier: GPL-3.0-or-later */
/* SPDX-FileCopyrightText: The contributors to the LICHEN project */

#ifndef LICHEN_GATEWAY_ANNOUNCE_INGEST_H_
#define LICHEN_GATEWAY_ANNOUNCE_INGEST_H_

#include <stddef.h>
#include <stdint.h>

#include <lichen/routing/announce.h>

#define GATEWAY_ANNOUNCE_TYPE LICHEN_ANNOUNCE_TYPE
#define GATEWAY_ANNOUNCE_MIN_LEN LICHEN_ANNOUNCE_MIN_LEN
#define GATEWAY_ANNOUNCE_MAX_HOPS LICHEN_ANNOUNCE_MAX_HOPS
#define GATEWAY_ANNOUNCE_IID_LEN LICHEN_ANNOUNCE_IID_LEN
#define GATEWAY_ANNOUNCE_PUBKEY_LEN LICHEN_ANNOUNCE_PUBKEY_LEN
#define GATEWAY_ANNOUNCE_SIGNATURE_LEN LICHEN_ANNOUNCE_SIGNATURE_LEN

struct gateway_announce_view {
	uint8_t hop_count;
	uint8_t rx_channel;
	uint16_t seq_num;
	const uint8_t *originator_iid;
	const uint8_t *pubkey;
	const uint8_t *signature;
	const uint8_t *app_data;
	size_t app_data_len;
};

int gateway_announce_parse(const uint8_t *data, size_t len,
			   struct gateway_announce_view *announce);

/* Post-dispatch announce body parser/verifier for unit tests and internal use. */
int gateway_announce_ingest_verified(const uint8_t *data, size_t len);

/* Authenticated L2 ingress boundary: requires 0x15 routing dispatch. */
int gateway_announce_ingest_l2_payload(const uint8_t *data, size_t len);

void gateway_announce_ingest_reset(void);

#endif /* LICHEN_GATEWAY_ANNOUNCE_INGEST_H_ */
```

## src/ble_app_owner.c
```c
/* SPDX-License-Identifier: GPL-3.0-or-later */
/* SPDX-FileCopyrightText: The contributors to the LICHEN project */

#include "ble_app_owner.h"

#include <errno.h>
#include <stdbool.h>
#include <string.h>

#include <zephyr/bluetooth/bluetooth.h>
#include <zephyr/bluetooth/conn.h>
#include <zephyr/kernel.h>
#include <zephyr/logging/log.h>
#include <zephyr/sys/util.h>

LOG_MODULE_REGISTER(ble_app_owner, LOG_LEVEL_INF);

static K_MUTEX_DEFINE(s_owner_mutex);
static bool s_bt_enabled;
static bool s_adv_started;
static enum ble_app_owner_surface s_surface;
static struct ble_app_owner_advertising s_adv;
static struct bt_conn *s_conn;
static uint32_t s_conn_generation;

#ifdef CONFIG_ZTEST
static int s_test_enable_ret;
static int s_test_adv_start_ret;
static int s_test_adv_stop_ret;
static uint32_t s_test_enable_count;
static uint32_t s_test_adv_start_count;
static uint32_t s_test_adv_stop_count;
static uint32_t s_test_adv_options;
static uint32_t s_test_conn_ref_count;
static uint32_t s_test_conn_unref_count;
#endif

static void owner_bump_conn_generation(void)
{
	s_conn_generation++;
	if (s_conn_generation == 0U) {
		s_conn_generation++;
	}
}

static int owner_bt_enable(void)
{
#ifdef CONFIG_ZTEST
	s_test_enable_count++;
	return s_test_enable_ret;
#else
	return bt_enable(NULL);
#endif
}

static int owner_bt_le_adv_start(const struct bt_le_adv_param *param,
				 const struct bt_data *ad, size_t ad_len,
				 const struct bt_data *sd, size_t sd_len)
{
	ARG_UNUSED(param);
#ifdef CONFIG_ZTEST
	s_test_adv_options = param != NULL ? param->options : 0U;
	ARG_UNUSED(ad);
	ARG_UNUSED(ad_len);
	ARG_UNUSED(sd);
	ARG_UNUSED(sd_len);
	s_test_adv_start_count++;
	return s_test_adv_start_ret;
#else
	return bt_le_adv_start(param, ad, ad_len, sd, sd_len);
#endif
}

static int owner_bt_le_adv_stop(void)
{
#ifdef CONFIG_ZTEST
	s_test_adv_stop_count++;
	return s_test_adv_stop_ret;
#else
	return bt_le_adv_stop();
#endif
}

static struct bt_conn *owner_bt_conn_ref(struct bt_conn *conn)
{
#ifdef CONFIG_ZTEST
	s_test_conn_ref_count++;
	return conn;
#else
	return bt_conn_ref(conn);
#endif
}

static void owner_bt_conn_unref(struct bt_conn *conn)
{
#ifdef CONFIG_ZTEST
	ARG_UNUSED(conn);
	s_test_conn_unref_count++;
#else
	bt_conn_unref(conn);
#endif
}

static int validate_modes(bool native, bool meshtastic, bool meshcore)
{
	uint8_t count = 0U;

	count += native ? 1U : 0U;
	count += meshtastic ? 1U : 0U;
	count += meshcore ? 1U : 0U;

	return count > 1U ? -ENOTSUP : 0;
}

static int validate_advertising(const struct ble_app_owner_advertising *adv)
{
	if (adv == NULL || adv->ad == NULL || adv->ad_len == 0U ||
	    adv->name == NULL || adv->name[0] == '\0') {
		return -EINVAL;
	}
	if (adv->surface != BLE_APP_OWNER_SURFACE_NATIVE &&
	    adv->surface != BLE_APP_OWNER_SURFACE_MESHTASTIC &&
	    adv->surface != BLE_APP_OWNER_SURFACE_MESHCORE) {
		return -EINVAL;
	}
	if (adv->sd == NULL && adv->sd_len > 0U) {
		return -EINVAL;
	}

	return validate_modes(adv->surface == BLE_APP_OWNER_SURFACE_NATIVE,
			      adv->surface == BLE_APP_OWNER_SURFACE_MESHTASTIC,
			      adv->surface == BLE_APP_OWNER_SURFACE_MESHCORE);
}

static int validate_compiled_mode(enum ble_app_owner_surface surface)
{
	const bool native = IS_ENABLED(CONFIG_LORA_LICHEN_BLE);
	const bool meshtastic = IS_ENABLED(CONFIG_LORA_LICHEN_MESHTASTIC_BLE);
	const bool meshcore = IS_ENABLED(CONFIG_LORA_LICHEN_MESHCORE_BLE);
	const bool any_surface = native || meshtastic || meshcore;
	int ret;

	ret = validate_modes(native, meshtastic, meshcore);
	if (ret < 0) {
		return ret;
	}

	if (!any_surface) {
		return 0;
	}

	if ((surface == BLE_APP_OWNER_SURFACE_NATIVE) != native ||
	    (surface == BLE_APP_OWNER_SURFACE_MESHTASTIC) != meshtastic ||
	    (surface == BLE_APP_OWNER_SURFACE_MESHCORE) != meshcore) {
		return -ENOTSUP;
	}

	return 0;
}

static void owner_connected(struct bt_conn *conn, uint8_t err)
{
	ble_app_owner_connected_fn connected;
	struct bt_conn *old_conn = NULL;
	struct bt_conn *new_conn = NULL;
	uint32_t generation = 0U;

	k_mutex_lock(&s_owner_mutex, K_FOREVER);
	if (err == 0U && s_adv_started && conn != NULL) {
		new_conn = owner_bt_conn_ref(conn);
		old_conn = s_conn;
		s_conn = new_conn;
		owner_bump_conn_generation();
	}
	generation = s_conn_generation;
	connected = s_adv_started ? s_adv.connected : NULL;
	k_mutex_unlock(&s_owner_mutex);

	if (old_conn != NULL) {
		owner_bt_conn_unref(old_conn);
	}
	if (connected != NULL) {
		connected(conn, err, generation);
	}
}

static void owner_disconnected(struct bt_conn *conn, uint8_t reason)
{
	ble_app_owner_disconnected_fn disconnected;
	struct bt_conn *old_conn = NULL;
	uint32_t generation = 0U;
	bool matched;

	k_mutex_lock(&s_owner_mutex, K_FOREVER);
	matched = s_conn != NULL && s_conn == conn;
	if (matched) {
		old_conn = s_conn;
		s_conn = NULL;
		owner_bump_conn_generation();
	}
	generation = s_conn_generation;
	disconnected = (s_adv_started && matched) ? s_adv.disconnected : NULL;
	k_mutex_unlock(&s_owner_mutex);

	if (disconnected != NULL) {
		disconnected(conn, reason, generation);
	}
	if (old_conn != NULL) {
		owner_bt_conn_unref(old_conn);
	}
}

BT_CONN_CB_DEFINE(owner_conn_callbacks) = {
	.connected = owner_connected,
	.disconnected = owner_disconnected,
};

int ble_app_owner_start(const struct ble_app_owner_advertising *adv)
{
	const struct bt_le_adv_param *param;
	int ret;

	ret = validate_advertising(adv);
	if (ret < 0) {
		return ret;
	}
	ret = validate_compiled_mode(adv->surface);
	if (ret < 0) {
		return ret;
	}

	k_mutex_lock(&s_owner_mutex, K_FOREVER);
	if (s_adv_started) {
		k_mutex_unlock(&s_owner_mutex);
		return s_surface == adv->surface ? 0 : -EALREADY;
	}
	if (!s_bt_enabled) {
		ret = owner_bt_enable();
		if (ret < 0) {
			k_mutex_unlock(&s_owner_mutex);
			LOG_ERR("bt_enable failed: %d", ret);
			return ret;
		}
		s_bt_enabled = true;
	}
	if (adv->prepare != NULL) {
		ret = adv->prepare();
		if (ret < 0) {
			k_mutex_unlock(&s_owner_mutex);
			return ret;
		}
	}

	param = BT_LE_ADV_PARAM(BT_LE_ADV_OPT_CONNECTABLE |
				(adv->surface == BLE_APP_OWNER_SURFACE_NATIVE ?
				 BT_LE_ADV_OPT_USE_NAME : 0),
				BT_GAP_ADV_FAST_INT_MIN_2,
				BT_GAP_ADV_FAST_INT_MAX_2,
				NULL);
	ret = owner_bt_le_adv_start(param, adv->ad, adv->ad_len, adv->sd,
				    adv->sd_len);
	if (ret == 0) {
		s_adv_started = true;
		s_surface = adv->surface;
		s_adv = *adv;
		LOG_INF("BLE app owner advertising as \"%s\"", adv->name);
	} else {
		LOG_ERR("BLE app owner advertising failed: %d", ret);
	}
	k_mutex_unlock(&s_owner_mutex);

	return ret;
}

int ble_app_owner_stop(enum ble_app_owner_surface surface)
{
	struct bt_conn *old_conn = NULL;
	int ret;

	k_mutex_lock(&s_owner_mutex, K_FOREVER);
	if (!s_bt_enabled || s_adv.ad == NULL || s_surface != surface) {
		k_mutex_unlock(&s_owner_mutex);
		return -EINVAL;
	}

	ret = owner_bt_le_adv_stop();
	if (ret == 0 || ret == -EALREADY) {
		s_adv_started = false;
		old_conn = s_conn;
		s_conn = NULL;
		owner_bump_conn_generation();
		ret = 0;
	} else {
		LOG_ERR("BLE app owner advertising stop failed: %d", ret);
	}
	k_mutex_unlock(&s_owner_mutex);

	if (old_conn != NULL) {
		owner_bt_conn_unref(old_conn);
	}

	return ret;
}

int ble_app_owner_restart(enum ble_app_owner_surface surface)
{
	const struct bt_le_adv_param *param;
	int ret;

	k_mutex_lock(&s_owner_mutex, K_FOREVER);
	if (!s_bt_enabled || s_adv.ad == NULL || s_surface != surface) {
		k_mutex_unlock(&s_owner_mutex);
		return -EINVAL;
	}

	param = BT_LE_ADV_PARAM(BT_LE_ADV_OPT_CONNECTABLE |
				(surface == BLE_APP_OWNER_SURFACE_NATIVE ?
				 BT_LE_ADV_OPT_USE_NAME : 0),
				BT_GAP_ADV_FAST_INT_MIN_2,
				BT_GAP_ADV_FAST_INT_MAX_2,
				NULL);
	ret = owner_bt_le_adv_start(param, s_adv.ad, s_adv.ad_len, s_adv.sd,
				    s_adv.sd_len);
	if (ret == 0 || ret == -EALREADY) {
		s_adv_started = true;
		ret = 0;
	} else {
		LOG_ERR("BLE app owner advertising restart failed: %d", ret);
	}
	k_mutex_unlock(&s_owner_mutex);

	return ret;
}

int ble_app_owner_conn_ref(enum ble_app_owner_surface surface,
			   struct bt_conn **conn)
{
	if (conn == NULL) {
		return -EINVAL;
	}

	k_mutex_lock(&s_owner_mutex, K_FOREVER);
	if (!s_adv_started || s_surface != surface || s_conn == NULL) {
		*conn = NULL;
		k_mutex_unlock(&s_owner_mutex);
		return -ENOTCONN;
	}
	*conn = owner_bt_conn_ref(s_conn);
	k_mutex_unlock(&s_owner_mutex);

	return 0;
}

void ble_app_owner_conn_unref(struct bt_conn *conn)
{
	if (conn != NULL) {
		owner_bt_conn_unref(conn);
	}
}

uint32_t ble_app_owner_conn_generation(enum ble_app_owner_surface surface)
{
	uint32_t generation;

	k_mutex_lock(&s_owner_mutex, K_FOREVER);
	generation = s_adv_started && s_surface == surface ?
		     s_conn_generation : 0U;
	k_mutex_unlock(&s_owner_mutex);

	return generation;
}

bool ble_app_owner_conn_matches(enum ble_app_owner_surface surface,
				const struct bt_conn *conn,
				uint32_t *generation)
{
	bool matches;

	if (generation == NULL) {
		return false;
	}

	k_mutex_lock(&s_owner_mutex, K_FOREVER);
	matches = s_adv_started && s_surface == surface && s_conn != NULL &&
		  s_conn == conn;
	*generation = matches ? s_conn_generation : 0U;
	k_mutex_unlock(&s_owner_mutex);

	return matches;
}

#ifdef CONFIG_ZTEST
void ble_app_owner_test_reset(void)
{
	struct bt_conn *old_conn;

	k_mutex_lock(&s_owner_mutex, K_FOREVER);
	old_conn = s_conn;
	s_conn = NULL;
	owner_bump_conn_generation();
	s_bt_enabled = false;
	s_adv_started = false;
	s_surface = BLE_APP_OWNER_SURFACE_NATIVE;
	memset(&s_adv, 0, sizeof(s_adv));
	s_test_enable_ret = 0;
	s_test_adv_start_ret = 0;
	s_test_adv_stop_ret = 0;
	s_test_enable_count = 0U;
	s_test_adv_start_count = 0U;
	s_test_adv_stop_count = 0U;
	s_test_adv_options = 0U;
	s_test_conn_ref_count = 0U;
	s_test_conn_unref_count = 0U;
	k_mutex_unlock(&s_owner_mutex);

	if (old_conn != NULL) {
		ARG_UNUSED(old_conn);
	}
}

void ble_app_owner_test_set_backend(int enable_ret, int adv_start_ret,
				    int adv_stop_ret)
{
	k_mutex_lock(&s_owner_mutex, K_FOREVER);
	s_test_enable_ret = enable_ret;
	s_test_adv_start_ret = adv_start_ret;
	s_test_adv_stop_ret = adv_stop_ret;
	k_mutex_unlock(&s_owner_mutex);
}

int ble_app_owner_test_copy_state(struct ble_app_owner_test_state *state)
{
	if (state == NULL) {
		return -EINVAL;
	}

	k_mutex_lock(&s_owner_mutex, K_FOREVER);
	state->enable_count = s_test_enable_count;
	state->adv_start_count = s_test_adv_start_count;
	state->adv_stop_count = s_test_adv_stop_count;
	state->adv_options = s_test_adv_options;
	state->surface = s_surface;
	state->ad = s_adv.ad;
	state->ad_len = s_adv.ad_len;
	state->sd = s_adv.sd;
	state->sd_len = s_adv.sd_len;
	state->has_surface = s_adv_started;
	state->has_connected = s_adv.connected != NULL;
	state->has_disconnected = s_adv.disconnected != NULL;
	state->has_connection = s_conn != NULL;
	state->conn_ref_count = s_test_conn_ref_count;
	state->conn_unref_count = s_test_conn_unref_count;
	k_mutex_unlock(&s_owner_mutex);

	return 0;
}

int ble_app_owner_test_validate_modes(bool native, bool meshtastic,
				      bool meshcore)
{
	return validate_modes(native, meshtastic, meshcore);
}

int ble_app_owner_test_validate_advertising(
	const struct ble_app_owner_advertising *adv)
{
	return validate_advertising(adv);
}

void ble_app_owner_test_connected(struct bt_conn *conn, uint8_t err)
{
	owner_connected(conn, err);
}

void ble_app_owner_test_disconnected(struct bt_conn *conn, uint8_t reason)
{
	owner_disconnected(conn, reason);
}

#endif
```

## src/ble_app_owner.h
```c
/* SPDX-License-Identifier: GPL-3.0-or-later */
/* SPDX-FileCopyrightText: The contributors to the LICHEN project */

#ifndef BLE_APP_OWNER_H_
#define BLE_APP_OWNER_H_

#include <stddef.h>
#include <stdbool.h>

#include <zephyr/bluetooth/bluetooth.h>
#include <zephyr/bluetooth/conn.h>

enum ble_app_owner_surface {
	BLE_APP_OWNER_SURFACE_NATIVE,
	BLE_APP_OWNER_SURFACE_MESHTASTIC,
	BLE_APP_OWNER_SURFACE_MESHCORE,
};

typedef int (*ble_app_owner_prepare_fn)(void);
typedef void (*ble_app_owner_connected_fn)(struct bt_conn *conn, uint8_t err,
					   uint32_t generation);
typedef void (*ble_app_owner_disconnected_fn)(struct bt_conn *conn,
					      uint8_t reason,
					      uint32_t generation);

struct ble_app_owner_advertising {
	enum ble_app_owner_surface surface;
	const struct bt_data *ad;
	size_t ad_len;
	const struct bt_data *sd;
	size_t sd_len;
	const char *name;
	ble_app_owner_prepare_fn prepare;
	ble_app_owner_connected_fn connected;
	ble_app_owner_disconnected_fn disconnected;
};

int ble_app_owner_start(const struct ble_app_owner_advertising *adv);
int ble_app_owner_stop(enum ble_app_owner_surface surface);
int ble_app_owner_restart(enum ble_app_owner_surface surface);
int ble_app_owner_conn_ref(enum ble_app_owner_surface surface,
			   struct bt_conn **conn);
void ble_app_owner_conn_unref(struct bt_conn *conn);
uint32_t ble_app_owner_conn_generation(enum ble_app_owner_surface surface);
bool ble_app_owner_conn_matches(enum ble_app_owner_surface surface,
				const struct bt_conn *conn,
				uint32_t *generation);

#ifdef CONFIG_ZTEST
struct ble_app_owner_test_state {
	uint32_t enable_count;
	uint32_t adv_start_count;
	uint32_t adv_stop_count;
	uint32_t adv_options;
	enum ble_app_owner_surface surface;
	const struct bt_data *ad;
	size_t ad_len;
	const struct bt_data *sd;
	size_t sd_len;
	bool has_surface;
	bool has_connected;
	bool has_disconnected;
	bool has_connection;
	uint32_t conn_ref_count;
	uint32_t conn_unref_count;
};

void ble_app_owner_test_reset(void);
void ble_app_owner_test_set_backend(int enable_ret, int adv_start_ret,
				    int adv_stop_ret);
int ble_app_owner_test_copy_state(struct ble_app_owner_test_state *state);
int ble_app_owner_test_validate_modes(bool native, bool meshtastic,
				      bool meshcore);
int ble_app_owner_test_validate_advertising(
	const struct ble_app_owner_advertising *adv);
void ble_app_owner_test_connected(struct bt_conn *conn, uint8_t err);
void ble_app_owner_test_disconnected(struct bt_conn *conn, uint8_t reason);
#endif

#endif /* BLE_APP_OWNER_H_ */
```

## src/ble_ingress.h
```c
/* SPDX-License-Identifier: GPL-3.0-or-later */
/* SPDX-FileCopyrightText: The contributors to the LICHEN project */

#ifndef BLE_INGRESS_H_
#define BLE_INGRESS_H_

#include <stddef.h>
#include <stdint.h>

struct net_if;

/**
 * Inject one BLE-originated IPv6 packet into the Zephyr network ingress path.
 *
 * On success, ownership of the allocated net_pkt is transferred to the Zephyr
 * RX path. On failure, this function releases any packet buffer it allocated.
 */
int ble_ingress_ipv6(struct net_if *iface, const uint8_t *ipv6, size_t len);

/**
 * Inject through the default network interface.
 */
int ble_ingress_ipv6_default(const uint8_t *ipv6, size_t len);

#endif /* BLE_INGRESS_H_ */
```

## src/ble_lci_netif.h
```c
/* SPDX-License-Identifier: GPL-3.0-or-later */
/* SPDX-FileCopyrightText: The contributors to the LICHEN project */

#ifndef BLE_LCI_NETIF_H_
#define BLE_LCI_NETIF_H_

#include <stddef.h>
#include <stdint.h>

#include <zephyr/net/net_if.h>

struct net_if *ble_lci_netif_get(void);
int ble_lci_netif_send_ipv6(const uint8_t *ipv6, size_t len);

#ifdef CONFIG_ZTEST
int ble_lci_netif_test_send_ipv6(const uint8_t *ipv6, size_t len);
#endif

#endif /* BLE_LCI_NETIF_H_ */
```
